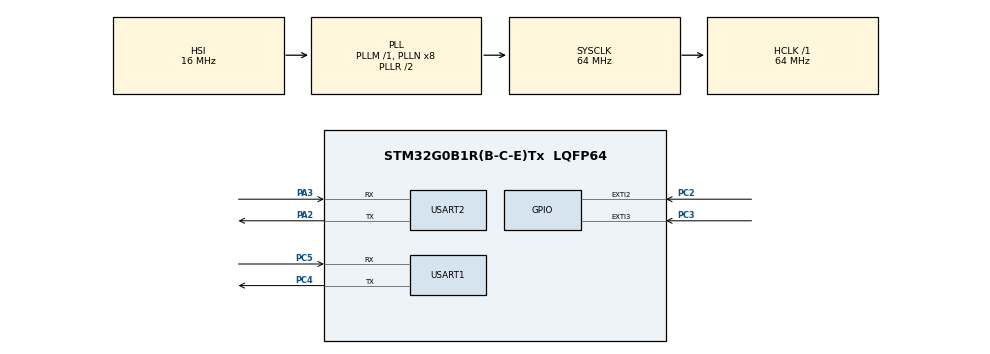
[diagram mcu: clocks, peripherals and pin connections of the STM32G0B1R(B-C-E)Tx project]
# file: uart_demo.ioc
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Mcu.Family=STM32G0
Mcu.Name=STM32G0B1R(B-C-E)Tx
Mcu.Package=LQFP64
NVIC.EXTI2_3_IRQn=true\:3\:0\:true\:false\:true\:true\:true\:true
NVIC.USART1_IRQn=true\:0\:0\:false\:false\:true\:true\:true\:true
NVIC.USART2_LPUART2_IRQn=true\:0\:0\:false\:false\:true\:true\:true\:true
PA13.Mode=Serial_Wire
PA13.Signal=SYS_SWDIO
PA14-BOOT0.Mode=Serial_Wire
PA14-BOOT0.Signal=SYS_SWCLK
PA2.Mode=Asynchronous
PA2.Signal=USART2_TX
PA3.Mode=Asynchronous
PA3.Signal=USART2_RX
PC2.GPIO_ModeDefaultEXTI=GPIO_MODE_IT_FALLING
PC2.GPIO_PuPd=GPIO_PULLUP
PC2.Signal=GPXTI2
PC3.GPIO_ModeDefaultEXTI=GPIO_MODE_IT_FALLING
PC3.GPIO_PuPd=GPIO_PULLUP
PC3.Signal=GPXTI3
PC4.Mode=Asynchronous
PC4.Signal=USART1_TX
PC5.Mode=Asynchronous
PC5.Signal=USART1_RX
PF0-OSC_IN\ (PF0).Mode=HSE-External-Oscillator
PF0-OSC_IN\ (PF0).Signal=RCC_OSC_IN
PF1-OSC_OUT\ (PF1).Mode=HSE-External-Oscillator
PF1-OSC_OUT\ (PF1).Signal=RCC_OSC_OUT
ProjectManager.HeapSize=0x200
ProjectManager.StackSize=0x400
ProjectManager.TargetToolchain=MDK-ARM V5.32
RCC.ADCFreq_Value=64000000
RCC.AHBFreq_Value=64000000
RCC.CortexFreq_Value=64000000
RCC.EXTERNAL_CLOCK_VALUE=48000
RCC.HCLKFreq_Value=64000000
RCC.HSE_VALUE=8000000
RCC.HSI48_VALUE=48000000
RCC.HSI_VALUE=16000000
RCC.LSE_VALUE=32768
RCC.SYSCLKFreq_VALUE=64000000
RCC.SYSCLKSource=RCC_SYSCLKSOURCE_PLLCLK
RCC.USBFreq_Value=48000000
RCC.VCOOutputFreq_Value=128000000
USART1.DMADisableonRxErrorParam=ADVFEATURE_DMA_DISABLEONRXERROR
USART1.RxPinLevelInvertParam=ADVFEATURE_RXINV_DISABLE
USART1.VirtualMode-Asynchronous=VM_ASYNC
USART2.VirtualMode-Asynchronous=VM_ASYNC
VP_SYS_VS_DBSignals.Mode=DisableDeadBatterySignals
board=custom

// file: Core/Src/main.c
/* USER CODE BEGIN Header */
/**
  ******************************************************************************
  * @file           : main.c
  * @brief          : Main program body
  ******************************************************************************
  * @attention
  *
  * Copyright (c) 2022 STMicroelectronics.
  * All rights reserved.
  *
  * This software is licensed under terms that can be found in the LICENSE file
  * in the root directory of this software component.
  * If no LICENSE file comes with this software, it is provided AS-IS.
  *
  ******************************************************************************
  */
/* USER CODE END Header */
#include "main.h"

/* USER CODE BEGIN Includes */
#include <stdio.h>
#include <string.h>
#include "FRM_Protocol.h"
/* USER CODE END Includes */

/* USER CODE BEGIN PD */

uint8_t g_fUART1_Byte;

UART_HandleTypeDef huart1;
UART_HandleTypeDef huart2;

volatile int is_powerdown = 0;

P_RECV_MSG p_function_1;
P_RECV_MSG p_function_2;
P_RECV_MSG p_function_3;

static RECV_MSG function;

USER user;
static int times = 0;

/* USER CODE END PD */

UART_HandleTypeDef huart1;
UART_HandleTypeDef huart2;

void SystemClock_Config(void);
static void MX_GPIO_Init(void);
static void MX_USART1_UART_Init(void);
static void MX_USART2_UART_Init(void);

/* USER CODE BEGIN 0 */

extern void MSG_Send(uint8_t *sendData, uint32_t sendLen)
{

	HAL_UART_Transmit(&huart1, sendData, sendLen, 1000);
	HAL_UART_Receive_IT(&huart1, &g_fUART1_Byte, 1 );
}

void HAL_UART_ErrorCallback(UART_HandleTypeDef *huart){}

void USART1_IRQHandler(void)
{

  /* USER CODE BEGIN USART1_IRQn 0 */
  /* data storage*/
	//old

  /* USER CODE END USART1_IRQn 0 */

  /* USER CODE BEGIN USART1_IRQn 1 */
	HAL_UART_IRQHandler(&huart1);
  //fresh
	HAL_UART_Receive_IT(&huart1, &g_fUART1_Byte, 1);
	Receive_Interruption(g_fUART1_Byte, &function);
  /* USER CODE END USART1_IRQn 1 */
}

void EXTI2_3_IRQHandler(void)
{
  /* USER CODE BEGIN EXTI2_3_IRQn 0 */

  /* USER CODE END EXTI2_3_IRQn 0 */

  HAL_GPIO_EXTI_IRQHandler(GPIO_PIN_2);
  HAL_GPIO_EXTI_IRQHandler(GPIO_PIN_3);
  /* USER CODE BEGIN EXTI2_3_IRQn 1 */
	if(HAL_GPIO_ReadPin(GPIOC, GPIO_PIN_2))
	  IT_Button = ENROLLMENT_BUTTON;
	else if(HAL_GPIO_ReadPin(GPIOC, GPIO_PIN_3))
	  IT_Button = DELETE_ALL_BUTTON;
	times = 0;

  /* USER CODE END EXTI2_3_IRQn 1 */
}

/* USER CODE END 0 */

int main(void)
{

  /* MCU Configuration--------------------------------------------------------*/

  /* Reset of all peripherals, Initializes the Flash interface and the Systick. */
  HAL_Init();

  /* Configure the system clock */
  SystemClock_Config();

  /* Initialize all configured peripherals */
  MX_GPIO_Init();
  MX_USART1_UART_Init();
  MX_USART2_UART_Init();
  /* USER CODE BEGIN 2 */
  /*
  ML_API_GetFirmwareVersion(&function);
	ML_API_GetUUID(&function);*/
  /*
 function = *p_function_1;
  ML_API_DeleteAll(&function);
   ML_API_DeleteID(2, &function);*/

 /*
  ML_API_Match(&user, &function);
    */
/*
	user.isAdm = 0x00;
	char name[32] = "micheng";
	char* str_dir[] = {"front", "up", "down", "left", "right"};
	memcpy(user.name, name, 32);
	for (int i = 0; i < 5 ; i++)
	{
		printf("pls look %s\n", str_dir[i]);
		int result = ML_API_Enrollment(&function, &user, i, 5);
		if(result == 0)
		{
			printf("enroll timeout!\n");
			break;
		}
		else if (result == 2)
		{
			printf("enrollment success, the user ");
			for (int a = 0; a< sizeof(user.name)&&user.name[a] != 0x00; a++)
				printf("%c", user.name[a]);
			printf("'s id: %d\n", user.id[0]+user.id[1]);
			break;
		}
	}
*/

  /* USER CODE END 2 */

  /* Infinite loop */
  /* USER CODE BEGIN WHILE */
  /*

  function = *p_function_1;
  ML_API_DeleteAll(&function);

  HAL_TIM_Base_Start_IT(&htim3);
  while(!is_powerdown);
  function = *p_function_2;
   ML_API_PowerDown(&function);
  HAL_SuspendTick();
  HAL_PWR_EnterSLEEPMode(PWR_MAINREGULATOR_ON, PWR_SLEEPENTRY_WFI);
  HAL_ResumeTick();

  while(HAL_GPIO_ReadPin(GPIOC, GPIO_PIN_3))
	  is_powerdown = 0;*/

  int result;
  function = *p_function_1;
  ML_API_ResetAndStandby(&function);

  while(1)
  {
	  switch(IT_Button)
	  {
		case ENROLLMENT_BUTTON:
			IT_Button = 0;
			user.isAdm = 0x00;
			function = *p_function_2;
			char name[32] = "micheng";
			char* str_dir[] = {"front", "up", "down", "left", "right"};
			memcpy(user.name, name, 32);
			for (int i = 0; i < 5 ; i++)
			{
				printf("pls look %s\n", str_dir[i]);
				int result = ML_API_Enrollment_0x13(&function, &user, i);
				if(result == 0)
				{
					printf("enroll timeout!\n");
					break;
				}
				else if (result == 2)
				{
					printf("enrollment success, the user ");
					for (int a = 0; a< sizeof(user.name)&&user.name[a] != 0x00; a++)
						printf("%c", user.name[a]);
					printf("'s id: %d\n", user.id[0]+user.id[1]);
					break;
				}
			}

			break;

		case DELETE_ALL_BUTTON:
			IT_Button = 0;
			function = *p_function_3;
	  		ML_API_DeleteAll(&function);
			break;
	  }
	  times = 0;
	  while (!IT_Button)
	  {
    /* USER CODE END WHILE */

    /* USER CODE BEGIN 3 */
		result = ML_API_Match(&user, &function);
		if (result == -1)
			printf("cmd with no respond!!");
		else if(result == 1)
		{
			printf("match success, the user's id: %d%d, the user's name:", user.id[0], user.id[1]);
			for (int i = 0; i<sizeof(user.name); i++)
			{
				if(user.name[i] == 0x00)
					break;
				else
					printf("%c",user.name[i]);
			}
			printf("\r\n");
			times = 0;
		}
		else
			times ++;
		if (times == 4)
		{
			HAL_SuspendTick();
			HAL_PWR_EnterSLEEPMode(PWR_MAINREGULATOR_ON, PWR_SLEEPENTRY_WFI);
			HAL_ResumeTick();
			times = 0;
		}
	  }

	  ML_API_ResetAndStandby(&function);

  }
  /* USER CODE END 3 */
}

void SystemClock_Config(void)
{
  RCC_OscInitTypeDef RCC_OscInitStruct = {0};
  RCC_ClkInitTypeDef RCC_ClkInitStruct = {0};

  /** Configure the main internal regulator output voltage
  */
  HAL_PWREx_ControlVoltageScaling(PWR_REGULATOR_VOLTAGE_SCALE1);

  /** Initializes the RCC Oscillators according to the specified parameters
  * in the RCC_OscInitTypeDef structure.
  */
  RCC_OscInitStruct.OscillatorType = RCC_OSCILLATORTYPE_HSI;
  RCC_OscInitStruct.HSIState = RCC_HSI_ON;
  RCC_OscInitStruct.HSIDiv = RCC_HSI_DIV1;
  RCC_OscInitStruct.HSICalibrationValue = RCC_HSICALIBRATION_DEFAULT;
  RCC_OscInitStruct.PLL.PLLState = RCC_PLL_ON;
  RCC_OscInitStruct.PLL.PLLSource = RCC_PLLSOURCE_HSI;
  RCC_OscInitStruct.PLL.PLLM = RCC_PLLM_DIV1;
  RCC_OscInitStruct.PLL.PLLN = 8;
  RCC_OscInitStruct.PLL.PLLP = RCC_PLLP_DIV2;
  RCC_OscInitStruct.PLL.PLLQ = RCC_PLLQ_DIV2;
  RCC_OscInitStruct.PLL.PLLR = RCC_PLLR_DIV2;
  if (HAL_RCC_OscConfig(&RCC_OscInitStruct) != HAL_OK)
  {
    Error_Handler();
  }

  /** Initializes the CPU, AHB and APB buses clocks
  */
  RCC_ClkInitStruct.ClockType = RCC_CLOCKTYPE_HCLK|RCC_CLOCKTYPE_SYSCLK
                              |RCC_CLOCKTYPE_PCLK1;
  RCC_ClkInitStruct.SYSCLKSource = RCC_SYSCLKSOURCE_PLLCLK;
  RCC_ClkInitStruct.AHBCLKDivider = RCC_SYSCLK_DIV1;
  RCC_ClkInitStruct.APB1CLKDivider = RCC_HCLK_DIV1;

  if (HAL_RCC_ClockConfig(&RCC_ClkInitStruct, FLASH_LATENCY_2) != HAL_OK)
  {
    Error_Handler();
  }
}

static void MX_USART1_UART_Init(void)
{

  huart1.Instance = USART1;
  huart1.Init.BaudRate = 115200;
  huart1.Init.WordLength = UART_WORDLENGTH_8B;
  huart1.Init.StopBits = UART_STOPBITS_1;
  huart1.Init.Parity = UART_PARITY_NONE;
  huart1.Init.Mode = UART_MODE_TX_RX;
  huart1.Init.HwFlowCtl = UART_HWCONTROL_NONE;
  huart1.Init.OverSampling = UART_OVERSAMPLING_16;
  huart1.Init.OneBitSampling = UART_ONE_BIT_SAMPLE_DISABLE;
  huart1.Init.ClockPrescaler = UART_PRESCALER_DIV1;
  huart1.AdvancedInit.AdvFeatureInit = UART_ADVFEATURE_DMADISABLEONERROR_INIT;
  huart1.AdvancedInit.DMADisableonRxError = UART_ADVFEATURE_DMA_DISABLEONRXERROR;
  if (HAL_UART_Init(&huart1) != HAL_OK)
  {
    Error_Handler();
  }
  if (HAL_UARTEx_SetTxFifoThreshold(&huart1, UART_TXFIFO_THRESHOLD_1_8) != HAL_OK)
  {
    Error_Handler();
  }
  if (HAL_UARTEx_SetRxFifoThreshold(&huart1, UART_RXFIFO_THRESHOLD_1_8) != HAL_OK)
  {
    Error_Handler();
  }
  if (HAL_UARTEx_DisableFifoMode(&huart1) != HAL_OK)
  {
    Error_Handler();
  }

}

static void MX_USART2_UART_Init(void)
{

  huart2.Instance = USART2;
  huart2.Init.BaudRate = 115200;
  huart2.Init.WordLength = UART_WORDLENGTH_8B;
  huart2.Init.StopBits = UART_STOPBITS_1;
  huart2.Init.Parity = UART_PARITY_NONE;
  huart2.Init.Mode = UART_MODE_TX_RX;
  huart2.Init.HwFlowCtl = UART_HWCONTROL_NONE;
  huart2.Init.OverSampling = UART_OVERSAMPLING_16;
  huart2.Init.OneBitSampling = UART_ONE_BIT_SAMPLE_DISABLE;
  huart2.Init.ClockPrescaler = UART_PRESCALER_DIV1;
  huart2.AdvancedInit.AdvFeatureInit = UART_ADVFEATURE_NO_INIT;
  if (HAL_UART_Init(&huart2) != HAL_OK)
  {
    Error_Handler();
  }
  if (HAL_UARTEx_SetTxFifoThreshold(&huart2, UART_TXFIFO_THRESHOLD_1_8) != HAL_OK)
  {
    Error_Handler();
  }
  if (HAL_UARTEx_SetRxFifoThreshold(&huart2, UART_RXFIFO_THRESHOLD_1_8) != HAL_OK)
  {
    Error_Handler();
  }
  if (HAL_UARTEx_DisableFifoMode(&huart2) != HAL_OK)
  {
    Error_Handler();
  }

}

static void MX_GPIO_Init(void)
{
  GPIO_InitTypeDef GPIO_InitStruct = {0};

  /* GPIO Ports Clock Enable */
  __HAL_RCC_GPIOF_CLK_ENABLE();
  __HAL_RCC_GPIOC_CLK_ENABLE();
  __HAL_RCC_GPIOA_CLK_ENABLE();

  /*Configure GPIO pins : PC2 PC3 */
  GPIO_InitStruct.Pin = GPIO_PIN_2|GPIO_PIN_3;
  GPIO_InitStruct.Mode = GPIO_MODE_IT_FALLING;
  GPIO_InitStruct.Pull = GPIO_PULLUP;
  HAL_GPIO_Init(GPIOC, &GPIO_InitStruct);

  /* EXTI interrupt init*/
  HAL_NVIC_SetPriority(EXTI2_3_IRQn, 3, 0);
  HAL_NVIC_EnableIRQ(EXTI2_3_IRQn);

}

/* USER CODE BEGIN 4 */
int fputc(int ch, FILE *f)
{
	uint8_t temp_ch = ch;
	HAL_UART_Transmit( &huart2, &temp_ch, 1, 100);
	return (ch);
}

/* USER CODE END 4 */

void Error_Handler(void)
{
  __disable_irq();
  while (1)
  {
  }
}
